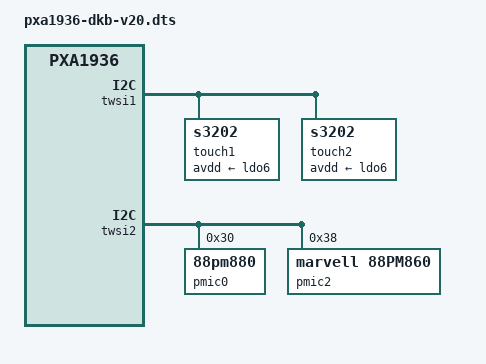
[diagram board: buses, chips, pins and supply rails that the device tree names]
/*
 *  Copyright (C) 2014 Marvell Technology Group Ltd.
 *  Author: Yi Zhang <yizhang@marvell.com>
 *
 *  This program is free software; you can redistribute it and/or modify
 *  it under the terms of the GNU General Public License version 2 as
 *  publishhed by the Free Software Foundation.
 */

/dts-v1/;
#include "pxa1936-board-common.dtsi"

/ {
	compatible = "marvell,pxa1936-dkb", "marvell,pxa1936";
	soc {
		apb@d4000000 {
			twsi1: i2c@d4010800 {
				touch1: s3202@720p {
					avdd-supply = <&ldo6>;
				};

				touch2: s3202@1080p {
					avdd-supply = <&ldo6>;
				};
			};

			twsi2: i2c@d4037000 {
				status = "okay";

				pmic0: 88pm880@30 {
					reg = <0x30>;
					interrupts = <0 4 IRQ_TYPE_LEVEL_HIGH>;
					interrupt-parent = <&gic>;

					dvc {
						pinctrl-names = "default";
						pinctrl-0 = <&dvc_pmx_func>;
					};

					/*
					 * TODO: remove later, fake ldo,
					 * to pass compile
					 */
					ldo19: regulator-ldo19 {
					};
				};

				pmic2: 88pm860@38 {
					compatible = "marvell,88pm860";
					reg = <0x38>;
					marvell,pmic-type = <1>;
					/* no codec_int currently, comment out now */
					/*
					interrupt-parent = <&gpio>;
					interrupts = <124 0x1>;
					marvell,88pm805-irq-write-clear;
					*/
					pm860_codec: pm860_codec {
						compatible = "marvell,88pm860-codec";
						#dailink-cells = <1>;
					};
				};
			};
		};
	};
};

#include "88pm88x.dtsi"
#include "88pm880.dtsi"
#include "88pm88x_battery_common.dtsi"
#include "88pm88x_sp4555557sa.dtsi"
#include "88pm880_pxa1936_dkb.dtsi"
